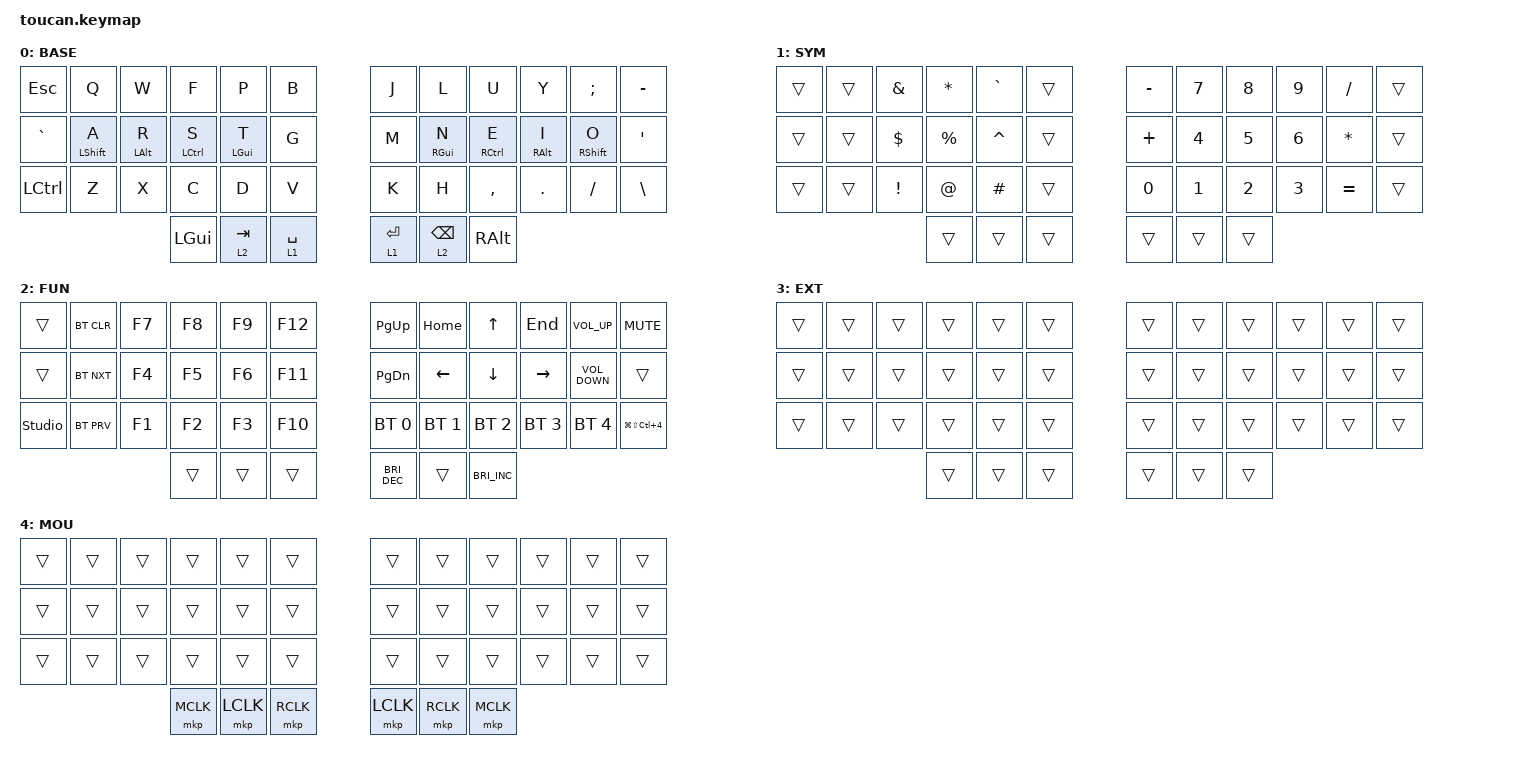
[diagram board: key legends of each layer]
/*
 * Copyright (c) 2020 The ZMK Contributors
 *
 * SPDX-License-Identifier: MIT
 */

#include <behaviors.dtsi>
#include <dt-bindings/zmk/bt.h>
#include <dt-bindings/zmk/keys.h>
#include <dt-bindings/zmk/outputs.h>
#include <dt-bindings/zmk/pointing.h>

/ {
    combos {
        compatible = "zmk,combos";

        combo_lbracket {
            bindings = <&kp LEFT_BRACKET>;
            key-positions = <4 3>;
            layers = <0>;
        };

        combo_lbrace {
            bindings = <&kp LEFT_BRACE>;
            key-positions = <15 16>;
            layers = <0>;
        };

        combo_lpar {
            bindings = <&kp LEFT_PARENTHESIS>;
            key-positions = <27 28>;
            layers = <0>;
        };

        combo_rbracket {
            bindings = <&kp RIGHT_BRACKET>;
            key-positions = <7 8>;
            layers = <0>;
        };

        combo_rbrace {
            bindings = <&kp RIGHT_BRACE>;
            key-positions = <19 20>;
            layers = <0>;
        };

        combo_rpar {
            bindings = <&kp RIGHT_PARENTHESIS>;
            key-positions = <31 32>;
            layers = <0>;
        };

        combo_langle {
            bindings = <&kp LESS_THAN>;
            key-positions = <13 14>;
            layers = <0>;
        };

        combo_rangle {
            bindings = <&kp GREATER_THAN>;
            key-positions = <21 22>;
            layers = <0>;
        };
    };

    keymap {
        compatible = "zmk,keymap";

        default_layer {
            display-name = "BASE";
            bindings = <
&kp ESC    &kp Q        &kp W       &kp F        &kp P       &kp B          &kp J        &kp L            &kp U                &kp Y            &kp SEMICOLON  &kp MINUS
&kp GRAVE  &hml LSHFT A  &hml LALT R  &hml LCTRL S  &hml LGUI T  &kp G          &kp M        &hmr RGUI N       &hmr RIGHT_CONTROL E  &hmr RIGHT_ALT I  &hmr RSHFT O    &kp APOSTROPHE
&kp LCTRL  &kp Z        &kp X       &kp C        &kp D       &kp V          &kp K        &kp H            &kp COMMA            &kp DOT          &kp FSLH       &kp BACKSLASH
                                    &kp LGUI     &lt 2 TAB   &lt 1 SPACE    &lt 1 ENTER  &bspc_lt 2 BACKSPACE  &kp RALT
            >;
        };

        sym_num_layer {
            display-name = "SYM";
            bindings = <
&trans   &trans  &kp AMPERSAND    &kp ASTERISK  &kp GRAVE  &trans    &kp MINUS     &kp NUMBER_7  &kp NUMBER_8  &kp NUMBER_9  &kp SLASH     &trans
&trans   &trans  &kp DOLLAR       &kp PERCENT   &kp CARET  &trans    &kp PLUS      &kp NUMBER_4  &kp NUMBER_5  &kp NUMBER_6  &kp ASTERISK  &trans
&trans   &trans  &kp EXCLAMATION  &kp AT        &kp HASH   &trans    &kp NUMBER_0  &kp NUMBER_1  &kp NUMBER_2  &kp NUMBER_3  &kp EQUAL     &trans
                                  &trans        &trans     &trans    &trans        &trans        &trans
            >;
        };

        brd_sym_layer {
            display-name = "FUN";
            bindings = <
&trans          &bt BT_CLR  &kp F7  &kp F8  &kp F9  &kp F12    &kp PAGE_UP    &kp HOME      &kp UP_ARROW    &kp END        &kp C_VOLUME_UP    &kp C_MUTE
&trans          &bt BT_NXT  &kp F4  &kp F5  &kp F6  &kp F11    &kp PAGE_DOWN  &kp LEFT      &kp DOWN        &kp RIGHT      &kp C_VOLUME_DOWN  &trans
&studio_unlock  &bt BT_PRV  &kp F1  &kp F2  &kp F3  &kp F10    &bt BT_SEL 0   &bt BT_SEL 1  &bt BT_SEL 2    &bt BT_SEL 3   &bt BT_SEL 4       &kp LG(LS(LC(N4)))
                            &trans  &trans  &trans    &kp C_BRIGHTNESS_DEC     &trans        &kp C_BRIGHTNESS_INC
            >;
        };

        // Placeholder so the mouse layer is always index 4, which the trackpad
        // touch processor activates (&mo 4 in toucan.dtsi). It must be a real
        // layer: "reserved" layers only count toward indices when Studio is on.
        spare_layer {
            display-name = "EXT";
            bindings = <
&trans &trans &trans &trans &trans &trans    &trans &trans &trans &trans &trans &trans
&trans &trans &trans &trans &trans &trans    &trans &trans &trans &trans &trans &trans
&trans &trans &trans &trans &trans &trans    &trans &trans &trans &trans &trans &trans
                     &trans &trans &trans    &trans &trans &trans
            >;
        };

        // Toucan-only: auto-activated (&mo 4 in toucan.dtsi) while the trackpad
        // is touched, so the thumb keys become mouse buttons.
        mouse_layer {
            display-name = "MOU";
            bindings = <
&trans &trans &trans &trans &trans &trans    &trans &trans &trans &trans &trans &trans
&trans &trans &trans &trans &trans &trans    &trans &trans &trans &trans &trans &trans
&trans &trans &trans &trans &trans &trans    &trans &trans &trans &trans &trans &trans
                     &mkp MCLK &mkp LCLK &mkp RCLK    &mkp LCLK &mkp RCLK &mkp MCLK
            >;
        };

        // Spare layer for ZMK Studio
        extra_5 {
            status = "reserved";
        };
    };

    behaviors {
        // Timeless home row mods: a mod only becomes a hold when the next key
        // is on the opposite hand; same-hand keys resolve it as a tap.
        hml: home_row_mods_left {
            compatible = "zmk,behavior-hold-tap";
            label = "HOME_ROW_MODS_LEFT";
            #binding-cells = <2>;
            flavor = "balanced";
            tapping-term-ms = <280>;
            quick-tap-ms = <175>;
            require-prior-idle-ms = <150>;
            hold-trigger-key-positions = <6 7 8 9 10 11 18 19 20 21 22 23 30 31 32 33 34 35 39 40 41>;
            hold-trigger-on-release;
            bindings = <&kp>, <&kp>;
        };

        hmr: home_row_mods_right {
            compatible = "zmk,behavior-hold-tap";
            label = "HOME_ROW_MODS_RIGHT";
            #binding-cells = <2>;
            flavor = "balanced";
            tapping-term-ms = <280>;
            quick-tap-ms = <175>;
            require-prior-idle-ms = <150>;
            hold-trigger-key-positions = <0 1 2 3 4 5 12 13 14 15 16 17 24 25 26 27 28 29 36 37 38>;
            hold-trigger-on-release;
            bindings = <&kp>, <&kp>;
        };

        bspc_lt: backspace_layer_tap {
            compatible = "zmk,behavior-hold-tap";
            label = "BACKSPACE_LAYER_TAP";
            #binding-cells = <2>;
            tapping-term-ms = <200>;
            quick-tap-ms = <175>; // Tap then hold within this window = held (repeating) backspace
            flavor = "tap-preferred";
            bindings = <&mo>, <&kp>;
        };
    };
};
